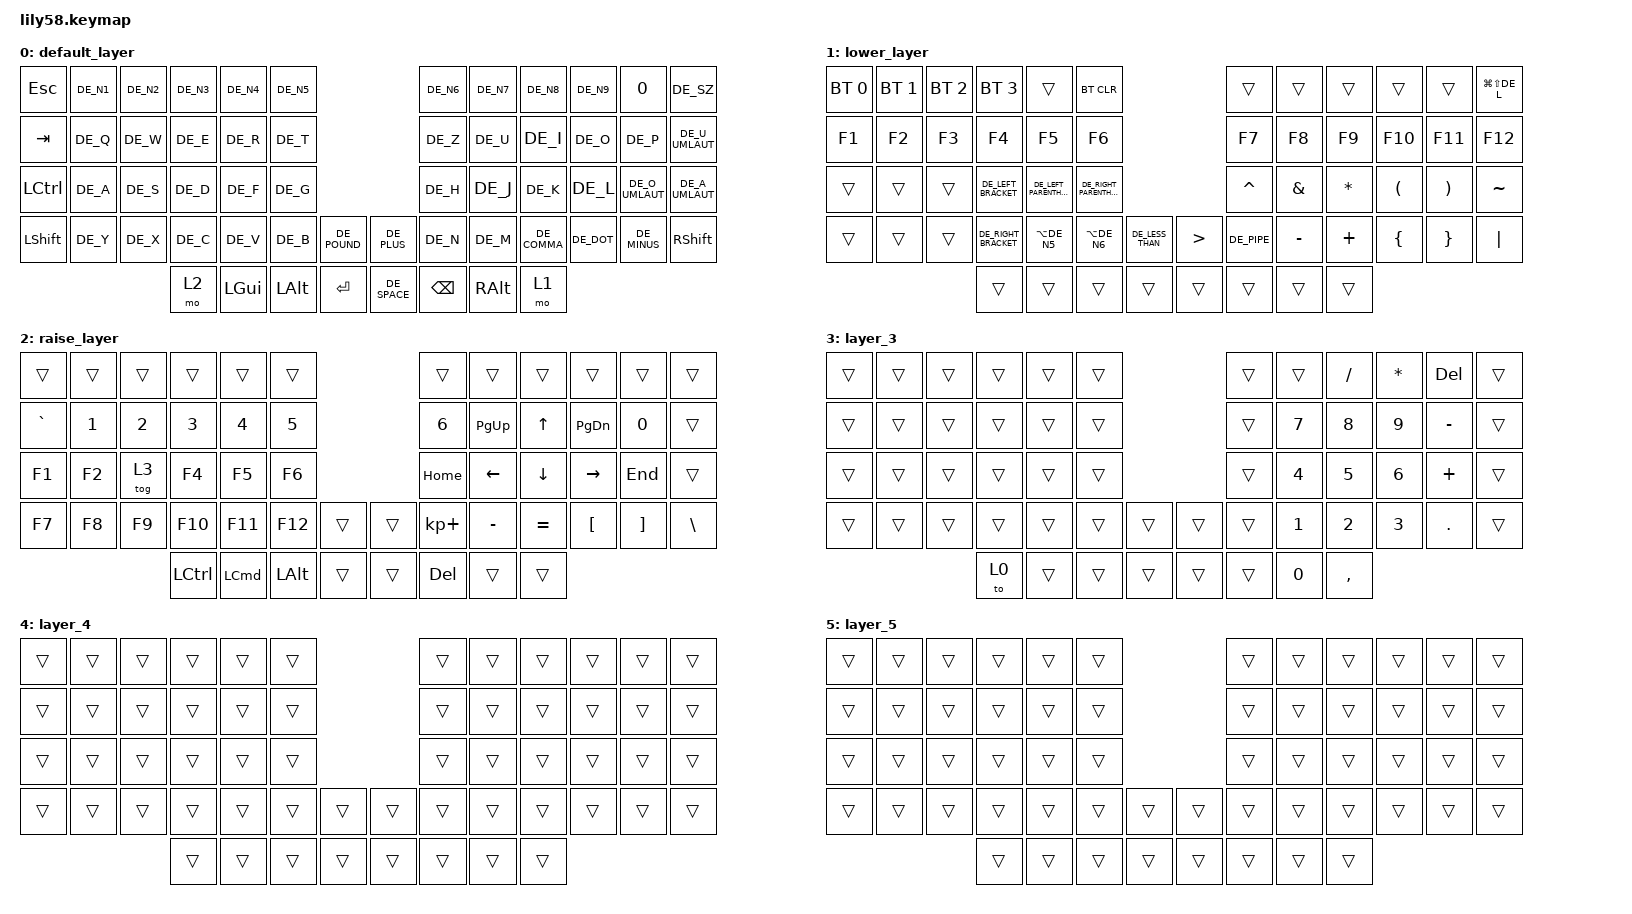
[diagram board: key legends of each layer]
/*
 * Copyright (c) 2020 The ZMK Contributors
 *
 *
 * SPDX-License-Identifier: MIT
 */

#include "keys_de.h"
#include <behaviors.dtsi>
#include <dt-bindings/zmk/bt.h>
#include <dt-bindings/zmk/keys.h>

&led_strip { chain-length = <35>; };

/ {
    keymap {
        compatible = "zmk,keymap";

        default_layer {
            // ------------------------------------------------------------------------------------------------------------
            // |  ESC  |  1  |  2  |  3   |  4   |  5   |                   |  6   |  7    |  8    |  9   |   0   |   `   |
            // |  TAB  |  Q  |  W  |  E   |  R   |  T   |                   |  Y   |  U    |  I    |  O   |   P   |   -   |
            // |  CTRL |  A  |  S  |  D   |  F   |  G   |                   |  H   |  J    |  K    |  L   |   ;   |   '   |
            // | SHIFT |  Z  |  X  |  C   |  V   |  B   |   "["  |  |  "]"  |  N   |  M    |  ,    |  .   |   /   | SHIFT |
            //                     | ALT  | GUI  | LOWER|  SPACE |  | ENTER | RAISE| BSPC  | GUI   |

            bindings = <
&kp ESC    &kp DE_N1  &kp DE_N2  &kp DE_N3  &kp DE_N4  &kp DE_N5                                   &kp DE_N6      &kp DE_N7      &kp DE_N8     &kp DE_N9   &kp N0           &kp DE_SZ
&kp TAB    &kp DE_Q   &kp DE_W   &kp DE_E   &kp DE_R   &kp DE_T                                    &kp DE_Z       &kp DE_U       &kp DE_I      &kp DE_O    &kp DE_P         &kp DE_U_UMLAUT
&kp LCTRL  &kp DE_A   &kp DE_S   &kp DE_D   &kp DE_F   &kp DE_G                                    &kp DE_H       &kp DE_J       &kp DE_K      &kp DE_L    &kp DE_O_UMLAUT  &kp DE_A_UMLAUT
&kp LSHFT  &kp DE_Y   &kp DE_X   &kp DE_C   &kp DE_V   &kp DE_B      &kp DE_POUND    &kp DE_PLUS   &kp DE_N       &kp DE_M       &kp DE_COMMA  &kp DE_DOT  &kp DE_MINUS     &kp RSHFT
                                 &mo 2      &kp LGUI   &kp LEFT_ALT  &kp ENTER       &kp DE_SPACE  &kp BACKSPACE  &kp RIGHT_ALT  &mo 1
            >;
        };

        lower_layer {
            // ------------------------------------------------------------------------------------------------------------
            // | BTCLR | BT1 | BT2 |  BT3 |  BT4 |  BT5 |                   |      |       |       |      |       |       |
            // |  F1   |  F2 |  F3 |  F4  |  F5  |  F6  |                   |  F7  |  F8   |  F9   |  F10 |  F11  |  F12  |
            // |   `   |  !  |  @  |  #   |  $   |  %   |                   |  ^   |  &    |  *    |  (   |   )   |   ~   |
            // |       |     |     |      |      |      |        |  |       |      |  _    |  +    |  {   |   }   |  "|"  |
            //                     |      |      |      |        |  |       |      |       |       |

            bindings = <
&bt BT_SEL 0  &bt BT_SEL 1  &bt BT_SEL 2  &bt BT_SEL 3          &trans                   &bt BT_CLR                                                      &trans       &trans     &trans     &trans    &trans    &kp LG(LS(DE_L))
&kp F1        &kp F2        &kp F3        &kp F4                &kp F5                   &kp F6                                                          &kp F7       &kp F8     &kp F9     &kp F10   &kp F11   &kp F12
&trans        &trans        &trans        &kp DE_LEFT_BRACKET   &kp DE_LEFT_PARENTHESIS  &kp DE_RIGHT_PARENTHESIS                                        &kp CARET    &kp AMPS   &kp ASTRK  &kp LPAR  &kp RPAR  &kp TILDE
&trans        &trans        &trans        &kp DE_RIGHT_BRACKET  &kp LA(DE_N5)            &kp LA(DE_N6)             &kp DE_LESS_THAN    &kp GREATER_THAN  &kp DE_PIPE  &kp MINUS  &kp PLUS   &kp LBRC  &kp RBRC  &kp PIPE
                                          &trans                &trans                   &trans                    &trans              &trans            &trans       &trans     &trans
            >;
        };

        raise_layer {
            // ------------------------------------------------------------------------------------------------------------
            // |       |     |     |      |      |      |                   |      |       |       |      |       |       |
            // |   `   |  1  |  2  |  3   |  4   |  5   |                   |  6   |   7   |   8   |  9   |   0   |       |
            // |   F1  |  F2 |  F3 |  F4  |  F5  |  F6  |                   |      |   <-  |   v   |  ^   |  ->   |       |
            // |   F7  |  F8 |  F9 |  F10 |  F11 |  F12 |        |  |       |  +   |   -   |   =   |  [   |   ]   |   \   |
            //                     |      |      |      |        |  |       |      |       |       |

            bindings = <
&trans     &trans  &trans  &trans     &trans            &trans                          &trans       &trans     &trans     &trans     &trans    &trans
&kp GRAVE  &kp N1  &kp N2  &kp N3     &kp N4            &kp N5                          &kp N6       &kp PG_UP  &kp UP     &kp PG_DN  &kp N0    &trans
&kp F1     &kp F2  &tog 3  &kp F4     &kp F5            &kp F6                          &kp HOME     &kp LEFT   &kp DOWN   &kp RIGHT  &kp END   &trans
&kp F7     &kp F8  &kp F9  &kp F10    &kp F11           &kp F12       &trans    &trans  &kp KP_PLUS  &kp MINUS  &kp EQUAL  &kp LBKT   &kp RBKT  &kp BSLH
                           &kp LCTRL  &kp LEFT_COMMAND  &kp LEFT_ALT  &trans    &trans  &kp DELETE   &trans     &trans
            >;
        };

        layer_3 {
            bindings = <
&trans  &trans  &trans  &trans  &trans  &trans                    &trans  &trans  &kp FSLH   &kp STAR  &kp DEL    &trans
&trans  &trans  &trans  &trans  &trans  &trans                    &trans  &kp N7  &kp N8     &kp N9    &kp MINUS  &trans
&trans  &trans  &trans  &trans  &trans  &trans                    &trans  &kp N4  &kp N5     &kp N6    &kp PLUS   &trans
&trans  &trans  &trans  &trans  &trans  &trans  &trans    &trans  &trans  &kp N1  &kp N2     &kp N3    &kp DOT    &trans
                        &to 0   &trans  &trans  &trans    &trans  &trans  &kp N0  &kp COMMA
            >;
        };

        layer_4 {
            bindings = <
&trans  &trans  &trans  &trans  &trans  &trans                    &trans  &trans  &trans  &trans  &trans  &trans
&trans  &trans  &trans  &trans  &trans  &trans                    &trans  &trans  &trans  &trans  &trans  &trans
&trans  &trans  &trans  &trans  &trans  &trans                    &trans  &trans  &trans  &trans  &trans  &trans
&trans  &trans  &trans  &trans  &trans  &trans  &trans    &trans  &trans  &trans  &trans  &trans  &trans  &trans
                        &trans  &trans  &trans  &trans    &trans  &trans  &trans  &trans
            >;
        };

        layer_5 {
            bindings = <
&trans  &trans  &trans  &trans  &trans  &trans                    &trans  &trans  &trans  &trans  &trans  &trans
&trans  &trans  &trans  &trans  &trans  &trans                    &trans  &trans  &trans  &trans  &trans  &trans
&trans  &trans  &trans  &trans  &trans  &trans                    &trans  &trans  &trans  &trans  &trans  &trans
&trans  &trans  &trans  &trans  &trans  &trans  &trans    &trans  &trans  &trans  &trans  &trans  &trans  &trans
                        &trans  &trans  &trans  &trans    &trans  &trans  &trans  &trans
            >;
        };
    };
};
